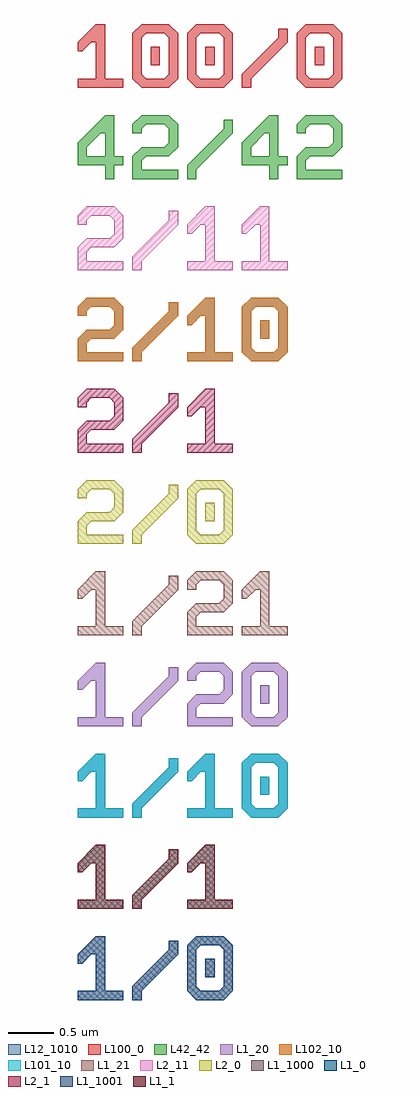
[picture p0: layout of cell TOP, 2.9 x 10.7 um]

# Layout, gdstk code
import gdstk
lib = gdstk.Library(unit=1e-6, precision=1e-09)
def R(c, l, rs):  # rectangles x0, y0, x1, y1
    for r in rs: c.add(gdstk.rectangle(r[:2], r[2:], *l))
def P(c, l, *ps):  # polygons
    for p in ps: c.add(gdstk.Polygon(p, *l))
L1_0 = (1, 0)
L1_1 = (1, 1)
L1_20 = (1, 20)
L1_21 = (1, 21)
L1_1000 = (1, 1000)
L1_1001 = (1, 1001)
L2_0 = (2, 0)
L2_1 = (2, 1)
L2_11 = (2, 11)
L12_1010 = (12, 1010)
L42_42 = (42, 42)
L100_0 = (100, 0)
L101_10 = (101, 10)
L102_10 = (102, 10)

top = lib.new_cell('TOP')
R(top, L1_0, [(1.4,0.25,1.5,0.45)])
P(top, L1_0, [(0,0),(0,0.1),(0.2,0.1),(0.2,0.5),(0.15,0.5),(0.05,0.4),(0,0.4),(0,0.5),(0.2,0.7),(0.3,0.7),(0.3,0.1),(0.5,0.1),(0.5,0)],
  [(0.6,0),(0.6,0.15),(1,0.55),(1,0.65),(1.1,0.65),(1.1,0.5),(0.7,0.1),(0.7,0)],
  [(1.3,0),(1.2,0.1),(1.2,0.6),(1.3,0.7),(1.6,0.7),(1.7,0.6),(1.35,0.6),(1.3,0.55),(1.3,0.15),(1.35,0.1),(1.55,0.1),(1.6,0.15),(1.6,0.55),(1.55,0.6),(1.7,0.6),(1.7,0.1),(1.6,0)])
P(top, L1_1, [(0,1),(0,1.1),(0.2,1.1),(0.2,1.5),(0.15,1.5),(0.05,1.4),(0,1.4),(0,1.5),(0.2,1.7),(0.3,1.7),(0.3,1.1),(0.5,1.1),(0.5,1)],
  [(0.6,1),(0.6,1.15),(1,1.55),(1,1.65),(1.1,1.65),(1.1,1.5),(0.7,1.1),(0.7,1)],
  [(1.2,1),(1.2,1.1),(1.4,1.1),(1.4,1.5),(1.35,1.5),(1.25,1.4),(1.2,1.4),(1.2,1.5),(1.4,1.7),(1.5,1.7),(1.5,1.1),(1.7,1.1),(1.7,1)])
R(top, L1_20, [(2,3.25,2.1,3.45)])
P(top, L1_20, [(0,3),(0,3.1),(0.2,3.1),(0.2,3.5),(0.15,3.5),(0.05,3.4),(0,3.4),(0,3.5),(0.2,3.7),(0.3,3.7),(0.3,3.1),(0.5,3.1),(0.5,3)],
  [(0.6,3),(0.6,3.15),(1,3.55),(1,3.65),(1.1,3.65),(1.1,3.5),(0.7,3.1),(0.7,3)],
  [(1.2,3),(1.2,3.25),(1.3,3.35),(1.55,3.35),(1.6,3.4),(1.6,3.55),(1.55,3.6),(1.35,3.6),(1.3,3.55),(1.3,3.5),(1.2,3.5),(1.2,3.6),(1.3,3.7),(1.6,3.7),(1.7,3.6),(1.7,3.35),(1.6,3.25),(1.35,3.25),(1.3,3.2),(1.3,3.1),(1.7,3.1),(1.7,3)],
  [(1.9,3),(1.8,3.1),(1.8,3.6),(1.9,3.7),(2.2,3.7),(2.3,3.6),(1.95,3.6),(1.9,3.55),(1.9,3.15),(1.95,3.1),(2.15,3.1),(2.2,3.15),(2.2,3.55),(2.15,3.6),(2.3,3.6),(2.3,3.1),(2.2,3)])
P(top, L1_21, [(0,4),(0,4.1),(0.2,4.1),(0.2,4.5),(0.15,4.5),(0.05,4.4),(0,4.4),(0,4.5),(0.2,4.7),(0.3,4.7),(0.3,4.1),(0.5,4.1),(0.5,4)],
  [(0.6,4),(0.6,4.15),(1,4.55),(1,4.65),(1.1,4.65),(1.1,4.5),(0.7,4.1),(0.7,4)],
  [(1.2,4),(1.2,4.25),(1.3,4.35),(1.55,4.35),(1.6,4.4),(1.6,4.55),(1.55,4.6),(1.35,4.6),(1.3,4.55),(1.3,4.5),(1.2,4.5),(1.2,4.6),(1.3,4.7),(1.6,4.7),(1.7,4.6),(1.7,4.35),(1.6,4.25),(1.35,4.25),(1.3,4.2),(1.3,4.1),(1.7,4.1),(1.7,4)],
  [(1.8,4),(1.8,4.1),(2,4.1),(2,4.5),(1.95,4.5),(1.85,4.4),(1.8,4.4),(1.8,4.5),(2,4.7),(2.1,4.7),(2.1,4.1),(2.3,4.1),(2.3,4)])
R(top, L1_1000, [(1.4,0.25,1.5,0.45)])
P(top, L1_1000, [(0,0),(0,0.1),(0.2,0.1),(0.2,0.5),(0.15,0.5),(0.05,0.4),(0,0.4),(0,0.5),(0.2,0.7),(0.3,0.7),(0.3,0.1),(0.5,0.1),(0.5,0)],
  [(0.6,0),(0.6,0.15),(1,0.55),(1,0.65),(1.1,0.65),(1.1,0.5),(0.7,0.1),(0.7,0)],
  [(1.3,0),(1.2,0.1),(1.2,0.6),(1.3,0.7),(1.6,0.7),(1.7,0.6),(1.35,0.6),(1.3,0.55),(1.3,0.15),(1.35,0.1),(1.55,0.1),(1.6,0.15),(1.6,0.55),(1.55,0.6),(1.7,0.6),(1.7,0.1),(1.6,0)])
P(top, L1_1001, [(0,1),(0,1.1),(0.2,1.1),(0.2,1.5),(0.15,1.5),(0.05,1.4),(0,1.4),(0,1.5),(0.2,1.7),(0.3,1.7),(0.3,1.1),(0.5,1.1),(0.5,1)],
  [(0.6,1),(0.6,1.15),(1,1.55),(1,1.65),(1.1,1.65),(1.1,1.5),(0.7,1.1),(0.7,1)],
  [(1.2,1),(1.2,1.1),(1.4,1.1),(1.4,1.5),(1.35,1.5),(1.25,1.4),(1.2,1.4),(1.2,1.5),(1.4,1.7),(1.5,1.7),(1.5,1.1),(1.7,1.1),(1.7,1)])
R(top, L2_0, [(1.4,5.25,1.5,5.45)])
P(top, L2_0, [(0,5),(0,5.25),(0.1,5.35),(0.35,5.35),(0.4,5.4),(0.4,5.55),(0.35,5.6),(0.15,5.6),(0.1,5.55),(0.1,5.5),(0,5.5),(0,5.6),(0.1,5.7),(0.4,5.7),(0.5,5.6),(0.5,5.35),(0.4,5.25),(0.15,5.25),(0.1,5.2),(0.1,5.1),(0.5,5.1),(0.5,5)],
  [(0.6,5),(0.6,5.15),(1,5.55),(1,5.65),(1.1,5.65),(1.1,5.5),(0.7,5.1),(0.7,5)],
  [(1.3,5),(1.2,5.1),(1.2,5.6),(1.3,5.7),(1.6,5.7),(1.7,5.6),(1.35,5.6),(1.3,5.55),(1.3,5.15),(1.35,5.1),(1.55,5.1),(1.6,5.15),(1.6,5.55),(1.55,5.6),(1.7,5.6),(1.7,5.1),(1.6,5)])
P(top, L2_1, [(0,6),(0,6.25),(0.1,6.35),(0.35,6.35),(0.4,6.4),(0.4,6.55),(0.35,6.6),(0.15,6.6),(0.1,6.55),(0.1,6.5),(0,6.5),(0,6.6),(0.1,6.7),(0.4,6.7),(0.5,6.6),(0.5,6.35),(0.4,6.25),(0.15,6.25),(0.1,6.2),(0.1,6.1),(0.5,6.1),(0.5,6)],
  [(0.6,6),(0.6,6.15),(1,6.55),(1,6.65),(1.1,6.65),(1.1,6.5),(0.7,6.1),(0.7,6)],
  [(1.2,6),(1.2,6.1),(1.4,6.1),(1.4,6.5),(1.35,6.5),(1.25,6.4),(1.2,6.4),(1.2,6.5),(1.4,6.7),(1.5,6.7),(1.5,6.1),(1.7,6.1),(1.7,6)])
P(top, L2_11, [(0,8),(0,8.25),(0.1,8.35),(0.35,8.35),(0.4,8.4),(0.4,8.55),(0.35,8.6),(0.15,8.6),(0.1,8.55),(0.1,8.5),(0,8.5),(0,8.6),(0.1,8.7),(0.4,8.7),(0.5,8.6),(0.5,8.35),(0.4,8.25),(0.15,8.25),(0.1,8.2),(0.1,8.1),(0.5,8.1),(0.5,8)],
  [(0.6,8),(0.6,8.15),(1,8.55),(1,8.65),(1.1,8.65),(1.1,8.5),(0.7,8.1),(0.7,8)],
  [(1.2,8),(1.2,8.1),(1.4,8.1),(1.4,8.5),(1.35,8.5),(1.25,8.4),(1.2,8.4),(1.2,8.5),(1.4,8.7),(1.5,8.7),(1.5,8.1),(1.7,8.1),(1.7,8)],
  [(1.8,8),(1.8,8.1),(2,8.1),(2,8.5),(1.95,8.5),(1.85,8.4),(1.8,8.4),(1.8,8.5),(2,8.7),(2.1,8.7),(2.1,8.1),(2.3,8.1),(2.3,8)])
R(top, L12_1010, [(2,2.25,2.1,2.45), (2,7.25,2.1,7.45)])
P(top, L12_1010, [(0,2),(0,2.1),(0.2,2.1),(0.2,2.5),(0.15,2.5),(0.05,2.4),(0,2.4),(0,2.5),(0.2,2.7),(0.3,2.7),(0.3,2.1),(0.5,2.1),(0.5,2)],
  [(0.6,2),(0.6,2.15),(1,2.55),(1,2.65),(1.1,2.65),(1.1,2.5),(0.7,2.1),(0.7,2)],
  [(1.2,2),(1.2,2.1),(1.4,2.1),(1.4,2.5),(1.35,2.5),(1.25,2.4),(1.2,2.4),(1.2,2.5),(1.4,2.7),(1.5,2.7),(1.5,2.1),(1.7,2.1),(1.7,2)],
  [(1.9,2),(1.8,2.1),(1.8,2.6),(1.9,2.7),(2.2,2.7),(2.3,2.6),(1.95,2.6),(1.9,2.55),(1.9,2.15),(1.95,2.1),(2.15,2.1),(2.2,2.15),(2.2,2.55),(2.15,2.6),(2.3,2.6),(2.3,2.1),(2.2,2)],
  [(0,7),(0,7.25),(0.1,7.35),(0.35,7.35),(0.4,7.4),(0.4,7.55),(0.35,7.6),(0.15,7.6),(0.1,7.55),(0.1,7.5),(0,7.5),(0,7.6),(0.1,7.7),(0.4,7.7),(0.5,7.6),(0.5,7.35),(0.4,7.25),(0.15,7.25),(0.1,7.2),(0.1,7.1),(0.5,7.1),(0.5,7)],
  [(0.6,7),(0.6,7.15),(1,7.55),(1,7.65),(1.1,7.65),(1.1,7.5),(0.7,7.1),(0.7,7)],
  [(1.2,7),(1.2,7.1),(1.4,7.1),(1.4,7.5),(1.35,7.5),(1.25,7.4),(1.2,7.4),(1.2,7.5),(1.4,7.7),(1.5,7.7),(1.5,7.1),(1.7,7.1),(1.7,7)],
  [(1.9,7),(1.8,7.1),(1.8,7.6),(1.9,7.7),(2.2,7.7),(2.3,7.6),(1.95,7.6),(1.9,7.55),(1.9,7.15),(1.95,7.1),(2.15,7.1),(2.2,7.15),(2.2,7.55),(2.15,7.6),(2.3,7.6),(2.3,7.1),(2.2,7)])
P(top, L42_42, [(0.3,9),(0.3,9.15),(0,9.15),(0,9.25),(0.3,9.25),(0.3,9.5),(0.25,9.5),(0.1,9.35),(0.1,9.25),(0,9.25),(0,9.4),(0.3,9.7),(0.4,9.7),(0.4,9.25),(0.5,9.25),(0.5,9.15),(0.4,9.15),(0.4,9)],
  [(0.6,9),(0.6,9.25),(0.7,9.35),(0.95,9.35),(1,9.4),(1,9.55),(0.95,9.6),(0.75,9.6),(0.7,9.55),(0.7,9.5),(0.6,9.5),(0.6,9.6),(0.7,9.7),(1,9.7),(1.1,9.6),(1.1,9.35),(1,9.25),(0.75,9.25),(0.7,9.2),(0.7,9.1),(1.1,9.1),(1.1,9)],
  [(1.2,9),(1.2,9.15),(1.6,9.55),(1.6,9.65),(1.7,9.65),(1.7,9.5),(1.3,9.1),(1.3,9)],
  [(2.1,9),(2.1,9.15),(1.8,9.15),(1.8,9.25),(2.1,9.25),(2.1,9.5),(2.05,9.5),(1.9,9.35),(1.9,9.25),(1.8,9.25),(1.8,9.4),(2.1,9.7),(2.2,9.7),(2.2,9.25),(2.3,9.25),(2.3,9.15),(2.2,9.15),(2.2,9)],
  [(2.4,9),(2.4,9.25),(2.5,9.35),(2.75,9.35),(2.8,9.4),(2.8,9.55),(2.75,9.6),(2.55,9.6),(2.5,9.55),(2.5,9.5),(2.4,9.5),(2.4,9.6),(2.5,9.7),(2.8,9.7),(2.9,9.6),(2.9,9.35),(2.8,9.25),(2.55,9.25),(2.5,9.2),(2.5,9.1),(2.9,9.1),(2.9,9)])
R(top, L100_0, [(0.8,10.25,0.9,10.45), (1.4,10.25,1.5,10.45), (2.6,10.25,2.7,10.45)])
P(top, L100_0, [(0,10),(0,10.1),(0.2,10.1),(0.2,10.5),(0.15,10.5),(0.05,10.4),(0,10.4),(0,10.5),(0.2,10.7),(0.3,10.7),(0.3,10.1),(0.5,10.1),(0.5,10)],
  [(0.7,10),(0.6,10.1),(0.6,10.6),(0.7,10.7),(1,10.7),(1.1,10.6),(0.75,10.6),(0.7,10.55),(0.7,10.15),(0.75,10.1),(0.95,10.1),(1,10.15),(1,10.55),(0.95,10.6),(1.1,10.6),(1.1,10.1),(1,10)],
  [(1.3,10),(1.2,10.1),(1.2,10.6),(1.3,10.7),(1.6,10.7),(1.7,10.6),(1.35,10.6),(1.3,10.55),(1.3,10.15),(1.35,10.1),(1.55,10.1),(1.6,10.15),(1.6,10.55),(1.55,10.6),(1.7,10.6),(1.7,10.1),(1.6,10)],
  [(1.8,10),(1.8,10.15),(2.2,10.55),(2.2,10.65),(2.3,10.65),(2.3,10.5),(1.9,10.1),(1.9,10)],
  [(2.5,10),(2.4,10.1),(2.4,10.6),(2.5,10.7),(2.8,10.7),(2.9,10.6),(2.55,10.6),(2.5,10.55),(2.5,10.15),(2.55,10.1),(2.75,10.1),(2.8,10.15),(2.8,10.55),(2.75,10.6),(2.9,10.6),(2.9,10.1),(2.8,10)])
R(top, L101_10, [(2,2.25,2.1,2.45)])
P(top, L101_10, [(0,2),(0,2.1),(0.2,2.1),(0.2,2.5),(0.15,2.5),(0.05,2.4),(0,2.4),(0,2.5),(0.2,2.7),(0.3,2.7),(0.3,2.1),(0.5,2.1),(0.5,2)],
  [(0.6,2),(0.6,2.15),(1,2.55),(1,2.65),(1.1,2.65),(1.1,2.5),(0.7,2.1),(0.7,2)],
  [(1.2,2),(1.2,2.1),(1.4,2.1),(1.4,2.5),(1.35,2.5),(1.25,2.4),(1.2,2.4),(1.2,2.5),(1.4,2.7),(1.5,2.7),(1.5,2.1),(1.7,2.1),(1.7,2)],
  [(1.9,2),(1.8,2.1),(1.8,2.6),(1.9,2.7),(2.2,2.7),(2.3,2.6),(1.95,2.6),(1.9,2.55),(1.9,2.15),(1.95,2.1),(2.15,2.1),(2.2,2.15),(2.2,2.55),(2.15,2.6),(2.3,2.6),(2.3,2.1),(2.2,2)])
R(top, L102_10, [(2,7.25,2.1,7.45)])
P(top, L102_10, [(0,7),(0,7.25),(0.1,7.35),(0.35,7.35),(0.4,7.4),(0.4,7.55),(0.35,7.6),(0.15,7.6),(0.1,7.55),(0.1,7.5),(0,7.5),(0,7.6),(0.1,7.7),(0.4,7.7),(0.5,7.6),(0.5,7.35),(0.4,7.25),(0.15,7.25),(0.1,7.2),(0.1,7.1),(0.5,7.1),(0.5,7)],
  [(0.6,7),(0.6,7.15),(1,7.55),(1,7.65),(1.1,7.65),(1.1,7.5),(0.7,7.1),(0.7,7)],
  [(1.2,7),(1.2,7.1),(1.4,7.1),(1.4,7.5),(1.35,7.5),(1.25,7.4),(1.2,7.4),(1.2,7.5),(1.4,7.7),(1.5,7.7),(1.5,7.1),(1.7,7.1),(1.7,7)],
  [(1.9,7),(1.8,7.1),(1.8,7.6),(1.9,7.7),(2.2,7.7),(2.3,7.6),(1.95,7.6),(1.9,7.55),(1.9,7.15),(1.95,7.1),(2.15,7.1),(2.2,7.15),(2.2,7.55),(2.15,7.6),(2.3,7.6),(2.3,7.1),(2.2,7)])

lib.write_gds('TOP.gds')
